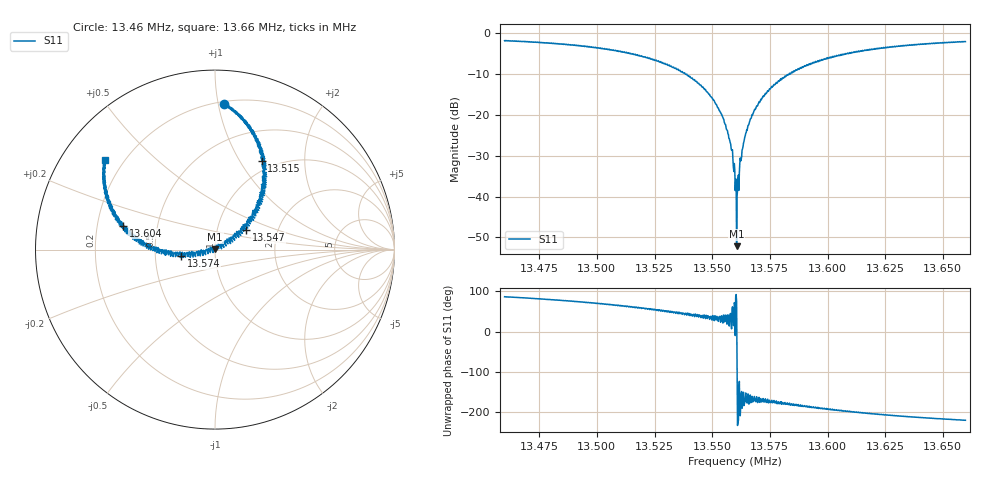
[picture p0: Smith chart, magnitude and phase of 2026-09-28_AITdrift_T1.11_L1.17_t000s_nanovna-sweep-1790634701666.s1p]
! NanoVNA Web complex sweep
! Processing: unaveraged complex samples; linear segment spacing; no smoothing
# Hz S RI R 50
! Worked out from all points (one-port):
!   1010 points, 13.46 MHz to 13.66 MHz, reference 50 ohm
!   lowest |S11| = -52.2 dB at 13.561 MHz (marker M1), VSWR 1.00, Z = 50.1 + j0.238 ohm
!   |S11| at or under -10 dB: 13.53833 MHz to 13.58329 MHz (44.96 kHz wide, 0.332 % of centre); 13.58374 MHz to 13.58379 MHz (45.74 Hz wide, 0.000337 % of centre)
!   S11 on the Smith chart (normalised r, x): 13.46 MHz: 0.22, +1.04; 13.515 MHz: 0.87, +1.25; 13.547 MHz: 1.37, +0.31; 13.574 MHz: 0.68, -0.05; 13.604 MHz: 0.31, +0.12; 13.66 MHz: 0.13, +0.35
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1.346e7  0.0493 0.81
1.348515e7  0.1643 0.7196
1.351009e7  0.2673 0.5438
1.351485e7  0.2612 0.4945
1.353504e7  0.2536 0.26
1.354237e7  0.2147 0.1637
1.354712e7  0.1724 0.1095
1.355167e7  0.1186 0.0651
1.355563e7  0.0645 0.0413
1.355801e7  0.0311 0.0312
1.35594e7  0.0195 0.00533
1.355959e7  0.00788 0.0242
1.355999e7  0.0117 -0.00198
1.356058e7  0.000652 0.00238
1.356098e7  -0.00717 0.00926
1.356157e7  -0.0102 -0.00625
1.356177e7  -0.0106 -0.0163
1.356296e7  -0.0367 0.00621
1.356395e7  -0.0502 -0.00113
1.356553e7  -0.0667 -0.0326
1.35693e7  -0.1224 -0.0417
1.357385e7  -0.189 -0.0354
1.357959e7  -0.2728 -0.0292
1.358494e7  -0.3311 0.0119
1.360414e7  -0.5107 0.1341
1.360989e7  -0.5394 0.1806
1.363483e7  -0.61 0.3607
1.365978e7  -0.6105 0.5019
